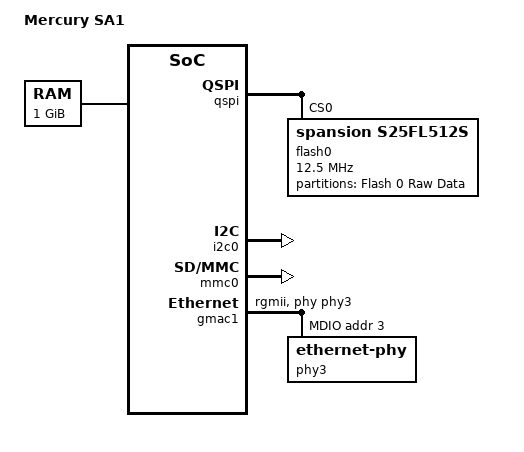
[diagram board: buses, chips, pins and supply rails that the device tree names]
#include "socfpga_cyclone5.dtsi"

/ {
	model = "Mercury SA1";
	compatible = "altr,socfpga-cyclone5", "altr,socfpga";

	chosen {
		stdout-path = "serial0:115200n8";
	};

	memory@0 {
		name = "memory";
		device_type = "memory";
		reg = <0x0 0x40000000>; /* 1GB */
	};

	soc {
		clkmgr@ffd04000 {
			clocks {
				osc1 {
					clock-frequency = <50000000>;
				};
			};
		};
	};
};

&qspi {
	status = "okay";
	reset-names = "qspi";

	flash0: s25fl512s@0 {
		#address-cells = <1>;
		#size-cells = <1>;
		compatible = "spansion,s25fl512s", "jedec,spi-nor";
		reg = <0>;
		spi-max-frequency = <12500000>;
		m25p,fast-read;
		cdns,page-size = <256>;
		cdns,block-size = <16>;
		cdns,read-delay = <4>;
		cdns,tshsl-ns = <50>;
		cdns,tsd2d-ns = <50>;
		cdns,tchsh-ns = <4>;
		cdns,tslch-ns = <4>;

		partition@qspi-boot {
			label = "Flash 0 Raw Data";
			reg = <0x0 0x4000000>;
		};
	};
};

&i2c0 {
	status = "okay";
};

&mmc0 {
	status = "okay";
};

&gpio1 {
	status = "okay";
};

&gmac1 {
	status = "okay";
	phy-mode = "rgmii";

	rxd0-skew-ps = <420>;
	rxd1-skew-ps = <420>;
	rxd2-skew-ps = <420>;
	rxd3-skew-ps = <420>;
	rxdv-skew-ps = <420>;

	txd0-skew-ps = <420>;
	txd1-skew-ps = <420>;
	txd2-skew-ps = <420>;
	txd3-skew-ps = <420>;
	txen-skew-ps = <420>;

	rxc-skew-ps = <900>;
	txc-skew-ps = <900>;

	snps,reset-gpios = <&portb 15 1>;
	snps,reset-active-low;
	snps,reset-delays-us = <0 10000 100000>;

	phy-handle = <&phy3>;

	mdio0 {
		#address-cells = <1>;
		#size-cells = <0>;
		compatible = "snps,dwmac-mdio";

		phy3: ethernet-phy@3 {
			reg = <3>;
		};
	};
};
